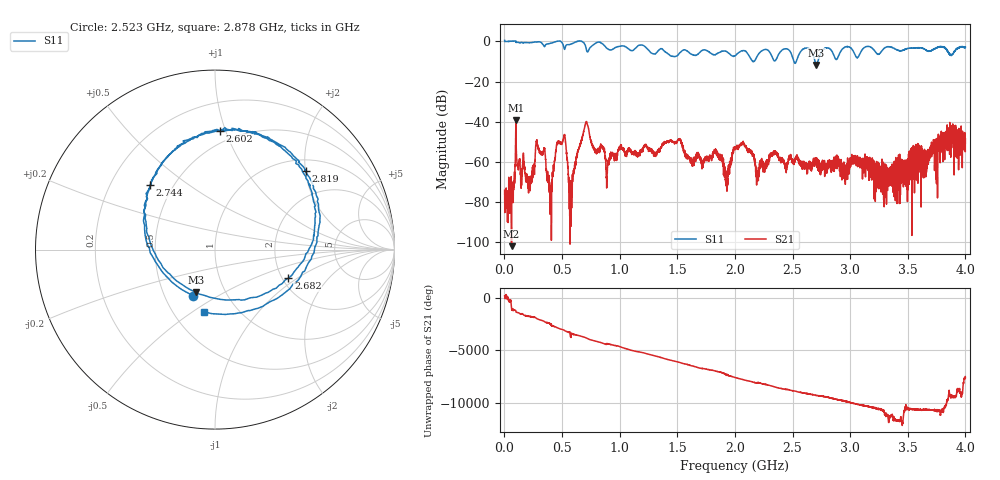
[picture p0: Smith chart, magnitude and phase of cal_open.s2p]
!Created with skrf (http://scikit-rf.org).
# GHz S RI R 50.0
!freq ReS11 ImS11 ReS21 ImS21 ReS12 ImS12 ReS22 ImS22
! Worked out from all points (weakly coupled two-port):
!   4000 points, 1 MHz to 4 GHz, reference 50 ohm
!   highest |S21| = -39.30 dB at 99 MHz (marker M1); lowest = -102.0 dB at 61 MHz (marker M2)
!   lowest |S11| = -11.8 dB at 2.707 GHz (marker M3), VSWR 1.70, Z = 36.7 - j18.6 ohm
!   |S11| at or under -10 dB: 2.157178 GHz to 2.165062 GHz (7.884 MHz wide, 0.365 % of centre); 2.512 GHz to 2.532 GHz (20.49 MHz wide, 0.812 % of centre); 2.695 GHz to 2.72 GHz (24.57 MHz wide, 0.908 % of centre) (the widest 3 of 4)
!   S12 and S22 are empty: the file has one direction only
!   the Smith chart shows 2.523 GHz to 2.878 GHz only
!   S11 on the Smith chart (normalised r, x): 2.523 GHz: 0.69, -0.38; 2.602 GHz: 0.40, +0.96; 2.682 GHz: 2.15, -0.85; 2.744 GHz: 0.37, +0.36; 2.819 GHz: 1.27, +2.01; 2.878 GHz: 0.70, -0.55
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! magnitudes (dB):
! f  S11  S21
! 1 MHz  0.5  -74.1
! 61 MHz  0.1  -102.0
! 99 MHz  -0.3  -39.3
! 219 MHz  -0.7  -68.7
! 290 MHz  -0.2  -53.2
! 397 MHz  -1.0  -73.9
! 513 MHz  -2.5  -47.9
! 575 MHz  -1.4  -69.3
! 668 MHz  0.1  -49.4
! 1.334 GHz  -4.7  -55.0
! 1.921 GHz  -4.8  -67.0
! 2.001 GHz  -7.1  -52.4
! 2.523 GHz  -10.9  -59.1
! 2.602 GHz  -3.6  -63.3
! 2.667 GHz  -5.1  -62.7
! 2.682 GHz  -7.1  -60.7
! 2.707 GHz  -11.8  -59.2
! 2.744 GHz  -5.8  -64.6
! 2.819 GHz  -3.5  -59.3
! 2.878 GHz  -9.1  -58.3
! 3.334 GHz  -2.6  -68.1
! 4 GHz  -2.9  -48.6
